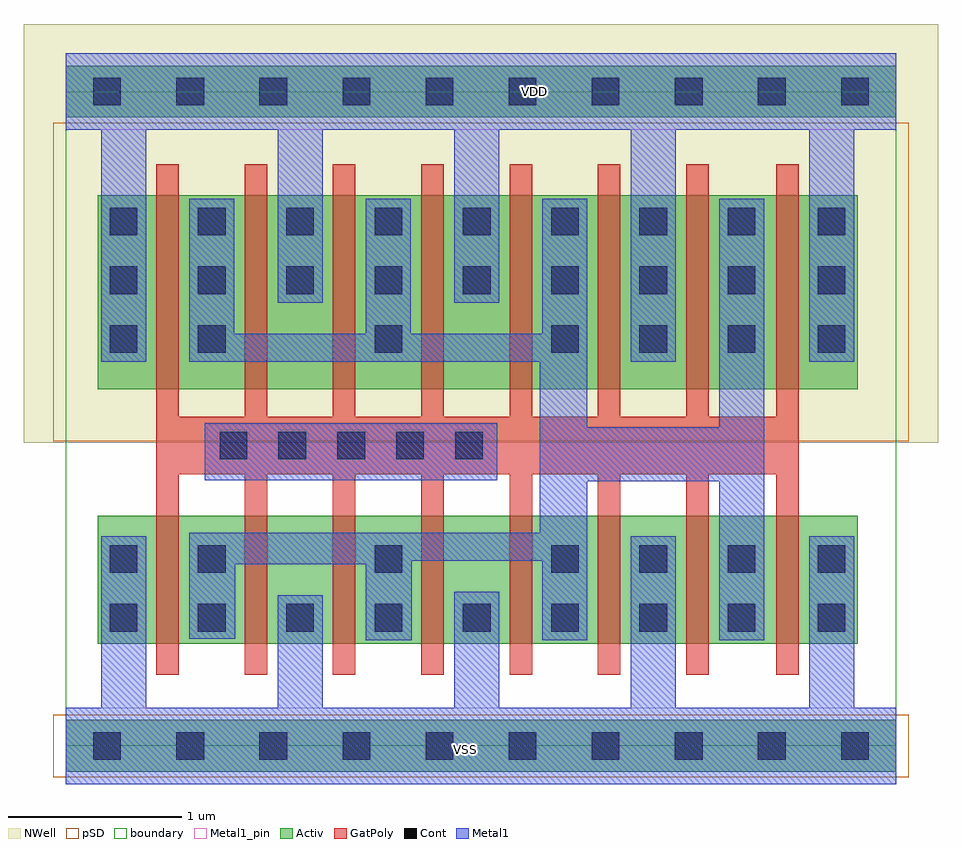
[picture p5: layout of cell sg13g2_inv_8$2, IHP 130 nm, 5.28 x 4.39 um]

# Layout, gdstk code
import gdstk
lib = gdstk.Library(unit=1e-6, precision=5e-09)
def R(c, l, rs):  # rectangles x0, y0, x1, y1
    for r in rs: c.add(gdstk.rectangle(r[:2], r[2:], *l))
def A(c, l, x, y, w, h, nx, ny, dx, dy):  # array of equal rectangles
    R(c, l, [(x+i*dx, y+j*dy, x+i*dx+w, y+j*dy+h) for i in range(nx) for j in range(ny)])
def P(c, l, *ps):  # polygons
    for p in ps: c.add(gdstk.Polygon(p, *l))
Activ = (1, 0)
GatPoly = (5, 0)
Cont = (6, 0)
Metal1 = (8, 0)
Metal1_pin = (8, 2)
pSD = (14, 0)
NWell = (31, 0)
boundary = (189, 4)

sg13g2_inv_8_2 = lib.new_cell('sg13g2_inv_8$2')
R(sg13g2_inv_8_2, Activ, [(-8.365,163.58,-3.565,163.88), (-8.18,164.32,-3.79,165.06), (-8.18,165.79,-3.79,166.91), (-8.365,167.36,-3.565,167.66)])
P(sg13g2_inv_8_2, GatPoly, [(-7.84,164.14),(-7.84,167.09),(-7.71,167.09),(-7.71,165.63),(-7.33,165.63),(-7.33,167.09),(-7.2,167.09),(-7.2,165.63),(-6.82,165.63),(-6.82,167.09),(-6.69,167.09),(-6.69,165.63),(-6.31,165.63),(-6.31,167.09),(-6.18,167.09),(-6.18,165.63),(-5.8,165.63),(-5.8,167.09),(-5.67,167.09),(-5.67,165.63),(-5.29,165.63),(-5.29,167.09),(-5.16,167.09),(-5.16,165.63),(-4.78,165.63),(-4.78,167.09),(-4.65,167.09),(-4.65,165.63),(-4.26,165.63),(-4.26,167.09),(-4.13,167.09),(-4.13,164.14),(-4.26,164.14),(-4.26,165.3),(-4.65,165.3),(-4.65,164.14),(-4.78,164.14),(-4.78,165.3),(-5.16,165.3),(-5.16,164.14),(-5.29,164.14),(-5.29,165.3),(-5.67,165.3),(-5.67,164.14),(-5.8,164.14),(-5.8,165.3),(-6.18,165.3),(-6.18,164.14),(-6.31,164.14),(-6.31,165.3),(-6.69,165.3),(-6.69,164.14),(-6.82,164.14),(-6.82,165.3),(-7.2,165.3),(-7.2,164.14),(-7.33,164.14),(-7.33,165.3),(-7.71,165.3),(-7.71,164.14)])
A(sg13g2_inv_8_2, Cont, -8.11, 164.39, 0.16, 0.16, 8, 2, 0.51, 1.95)
A(sg13g2_inv_8_2, Cont, -7.6, 164.73, 0.16, 0.16, 3, 2, 1.02, 1.27)
A(sg13g2_inv_8_2, Cont, -7.475, 165.385, 0.16, 0.16, 5, 1, 0.34, 0)
A(sg13g2_inv_8_2, Cont, -4.02, 166, 0.16, 0.16, 1, 3, 0, 0.34)
A(sg13g2_inv_8_2, Cont, -8.11, 166.68, 0.16, 0.16, 8, 1, 0.51, 0)
R(sg13g2_inv_8_2, Cont, [(-8.205,163.65,-8.045,163.81), (-8.205,163.65,-8.045,163.81), (-7.725,163.65,-7.565,163.81), (-7.725,163.65,-7.565,163.81), (-7.245,163.65,-7.085,163.81), (-7.245,163.65,-7.085,163.81), (-6.765,163.65,-6.605,163.81), (-6.765,163.65,-6.605,163.81), (-6.285,163.65,-6.125,163.81), (-6.285,163.65,-6.125,163.81), (-5.805,163.65,-5.645,163.81), (-5.805,163.65,-5.645,163.81), (-5.325,163.65,-5.165,163.81), (-5.325,163.65,-5.165,163.81), (-4.845,163.65,-4.685,163.81), (-4.845,163.65,-4.685,163.81), (-4.365,163.65,-4.205,163.81), (-4.365,163.65,-4.205,163.81), (-3.885,163.65,-3.725,163.81), (-3.885,163.65,-3.725,163.81), (-4.02,164.39,-3.86,164.55), (-8.11,164.73,-7.95,164.89), (-5.05,164.73,-4.89,164.89), (-4.54,164.73,-4.38,164.89), (-4.02,164.73,-3.86,164.89), (-8.11,166,-7.95,166.16), (-5.05,166,-4.89,166.16), (-4.54,166,-4.38,166.16), (-8.205,167.43,-8.045,167.59), (-8.205,167.43,-8.045,167.59), (-7.725,167.43,-7.565,167.59), (-7.725,167.43,-7.565,167.59), (-7.245,167.43,-7.085,167.59), (-7.245,167.43,-7.085,167.59), (-6.765,167.43,-6.605,167.59), (-6.765,167.43,-6.605,167.59), (-6.285,167.43,-6.125,167.59), (-6.285,167.43,-6.125,167.59), (-5.805,167.43,-5.645,167.59), (-5.805,167.43,-5.645,167.59), (-5.325,167.43,-5.165,167.59), (-5.325,167.43,-5.165,167.59), (-4.845,167.43,-4.685,167.59), (-4.845,167.43,-4.685,167.59), (-4.365,167.43,-4.205,167.59), (-4.365,167.43,-4.205,167.59), (-3.885,167.43,-3.725,167.59), (-3.885,167.43,-3.725,167.59)])
R(sg13g2_inv_8_2, Metal1, [(-7.56,165.265,-5.87,165.595)])
P(sg13g2_inv_8_2, Metal1, [(-8.365,163.51),(-8.365,163.95),(-8.16,163.95),(-8.16,164.94),(-7.9,164.94),(-7.9,163.95),(-7.14,163.95),(-7.14,164.6),(-6.88,164.6),(-6.88,163.95),(-6.12,163.95),(-6.12,164.62),(-5.86,164.62),(-5.86,163.95),(-5.1,163.95),(-5.1,164.94),(-4.84,164.94),(-4.84,163.95),(-4.07,163.95),(-4.07,164.94),(-3.81,164.94),(-3.81,163.95),(-3.565,163.95),(-3.565,163.51)],
  [(-8.16,165.95),(-8.16,167.29),(-8.365,167.29),(-8.365,167.73),(-3.565,167.73),(-3.565,167.29),(-3.81,167.29),(-3.81,165.95),(-4.07,165.95),(-4.07,167.29),(-4.84,167.29),(-4.84,165.95),(-5.1,165.95),(-5.1,167.29),(-5.86,167.29),(-5.86,166.29),(-6.12,166.29),(-6.12,167.29),(-6.88,167.29),(-6.88,166.29),(-7.14,166.29),(-7.14,167.29),(-7.9,167.29),(-7.9,165.95)],
  [(-6.63,164.34),(-6.63,164.78),(-7.385,164.78),(-7.385,164.35),(-7.65,164.35),(-7.65,164.96),(-5.625,164.96),(-5.625,165.95),(-7.65,165.95),(-7.65,166.89),(-7.39,166.89),(-7.39,166.11),(-6.63,166.11),(-6.63,166.89),(-6.37,166.89),(-6.37,166.11),(-5.61,166.11),(-5.61,166.89),(-5.35,166.89),(-5.35,165.57),(-4.59,165.57),(-4.59,166.89),(-4.33,166.89),(-4.33,164.34),(-4.59,164.34),(-4.59,165.26),(-5.35,165.26),(-5.35,164.34),(-5.61,164.34),(-5.61,164.8),(-6.365,164.8),(-6.365,164.34)])
R(sg13g2_inv_8_2, Metal1_pin, [(-8.365,163.51,-3.565,163.95), (-8.365,167.29,-3.565,167.73)])
R(sg13g2_inv_8_2, pSD, [(-8.435,163.55,-3.495,163.91), (-8.435,165.49,-3.495,167.33)])
R(sg13g2_inv_8_2, NWell, [(-8.605,165.48,-3.325,167.9)])
R(sg13g2_inv_8_2, boundary, [(-8.365,163.73,-3.565,167.51)])
sg13g2_inv_8_2.add(gdstk.Label('VSS', (-6.055,163.71), layer=8, texttype=25))
sg13g2_inv_8_2.add(gdstk.Label('VDD', (-5.655,167.51), layer=8, texttype=25))

lib.write_gds('sg13g2_inv_8_2.gds')
